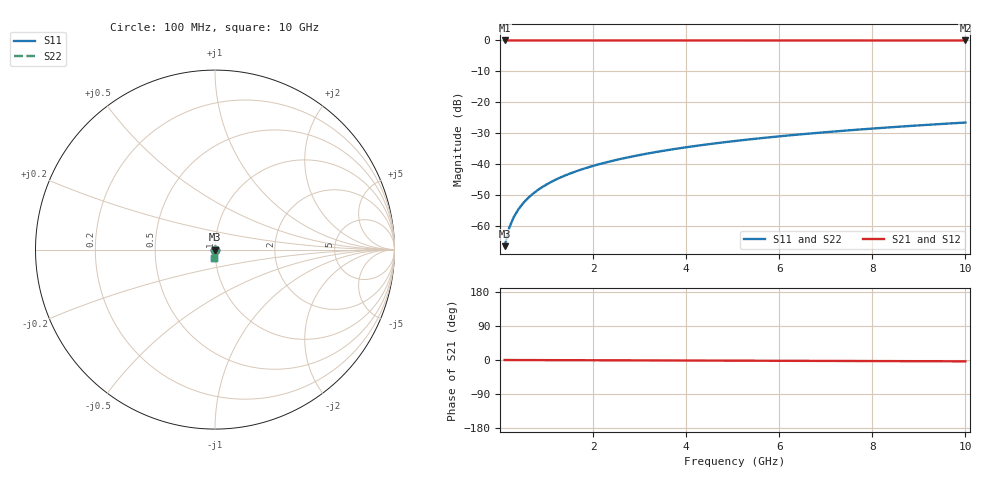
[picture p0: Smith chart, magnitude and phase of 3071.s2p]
# Hz S RI R 50.00
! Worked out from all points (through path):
!   100 points, 100 MHz to 10 GHz, reference 50 ohm
!   highest |S21| = 0.00 dB at 100 MHz (marker M1); lowest = 0.0 dB at 10 GHz (marker M2)
!   lowest |S11| = -66.7 dB at 100 MHz (marker M3), VSWR 1.00, Z = 50 - j0.0462 ohm
!   |S11| at or under -10 dB: start of sweep to end of sweep
!   |S22| runs from -66.7 to -26.6 dB; largest |S21 - S12| = 0
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1e8  2.63e-05 -0.000462  1 -0.000605  1 -0.000605  2.63e-05 -0.000462
2e8  2.51e-05 -0.000924  1 -0.00121  1 -0.00121  2.51e-05 -0.000924
3e8  2.34e-05 -0.00139  1 -0.00181  1 -0.00181  2.34e-05 -0.00139
4e8  2.1e-05 -0.00185  1 -0.00242  1 -0.00242  2.1e-05 -0.00185
5e8  1.81e-05 -0.00231  1 -0.00302  1 -0.00302  1.81e-05 -0.00231
6e8  1.46e-05 -0.00277  1 -0.00363  1 -0.00363  1.46e-05 -0.00277
7e8  1.05e-05 -0.00323  1 -0.00423  1 -0.00423  1.05e-05 -0.00323
8e8  5.85e-06 -0.0037  0.9999 -0.00484  0.9999 -0.00484  5.85e-06 -0.0037
9e8  6.42e-07 -0.00416  0.9999 -0.00545  0.9999 -0.00545  6.42e-07 -0.00416
1.1e9  -1.15e-05 -0.00508  0.9999 -0.00666  0.9999 -0.00666  -1.15e-05 -0.00508
1.4e9  -3.39e-05 -0.00647  0.9999 -0.00847  0.9999 -0.00847  -3.39e-05 -0.00647
1.8e9  -7.16e-05 -0.00832  0.9999 -0.0109  0.9999 -0.0109  -7.16e-05 -0.00832
2.1e9  -0.000106 -0.00971  0.9998 -0.0127  0.9998 -0.0127  -0.000106 -0.00971
2.5e9  -0.000159 -0.0116  0.9998 -0.0151  0.9998 -0.0151  -0.000159 -0.0116
2.9e9  -0.000222 -0.0134  0.9997 -0.0176  0.9997 -0.0176  -0.000222 -0.0134
3.4e9  -0.000313 -0.0157  0.9996 -0.0206  0.9996 -0.0206  -0.000313 -0.0157
4.2e9  -0.000489 -0.0195  0.9994 -0.0255  0.9994 -0.0255  -0.000489 -0.0195
5.1e9  -0.000731 -0.0237  0.9992 -0.031  0.9992 -0.031  -0.000731 -0.0237
5.9e9  -0.000985 -0.0274  0.9989 -0.0359  0.9989 -0.0359  -0.000985 -0.0274
6.7e9  -0.00128 -0.0311  0.9986 -0.0408  0.9986 -0.0408  -0.00128 -0.0311
8.4e9  -0.00202 -0.0391  0.9978 -0.0512  0.9978 -0.0512  -0.00202 -0.0391
1e10  -0.00288 -0.0466  0.997 -0.0611  0.997 -0.0611  -0.00288 -0.0466
